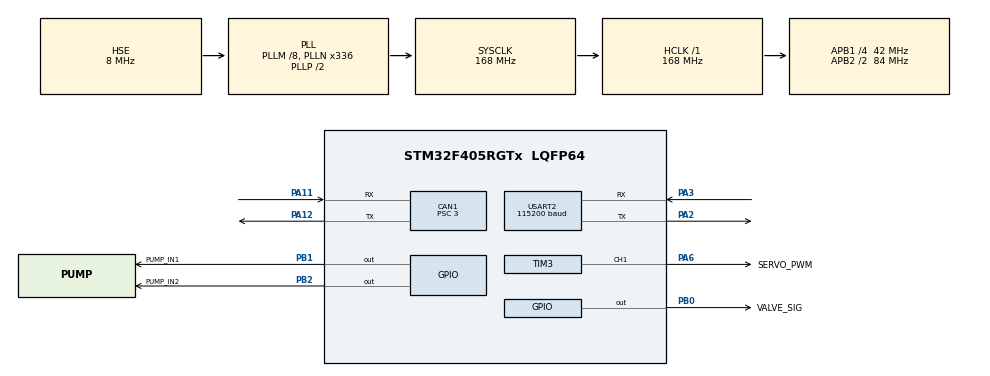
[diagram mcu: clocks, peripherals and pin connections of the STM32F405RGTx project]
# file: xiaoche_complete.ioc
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CAN1.ABOM=ENABLE
CAN1.BS1=CAN_BS1_11TQ
CAN1.BS2=CAN_BS2_2TQ
CAN1.CalculateBaudRate=1000000
CAN1.CalculateTimeBit=1000
CAN1.CalculateTimeQuantum=71.42857142857143
CAN1.NART=ENABLE
CAN1.Prescaler=3
Mcu.Family=STM32F4
Mcu.Name=STM32F405RGTx
Mcu.Package=LQFP64
NVIC.CAN1_RX0_IRQn=true\:0\:0\:false\:false\:true\:true\:true\:true
NVIC.PriorityGroup=NVIC_PRIORITYGROUP_4
NVIC.USART2_IRQn=true\:1\:0\:true\:false\:true\:true\:true\:true
PA11.Mode=CAN_Activate
PA11.Signal=CAN1_RX
PA12.Mode=CAN_Activate
PA12.Signal=CAN1_TX
PA13.Mode=Serial_Wire
PA13.Signal=SYS_JTMS-SWDIO
PA14.Mode=Serial_Wire
PA14.Signal=SYS_JTCK-SWCLK
PA2.Mode=Asynchronous
PA2.Signal=USART2_TX
PA3.Mode=Asynchronous
PA3.Signal=USART2_RX
PA6.GPIO_Label=SERVO_PWM
PA6.Signal=S_TIM3_CH1
PB0.GPIO_Label=VALVE_SIG
PB0.GPIO_PuPd=GPIO_PULLDOWN
PB0.Signal=GPIO_Output
PB1.GPIO_Label=PUMP_IN1
PB1.GPIO_PuPd=GPIO_PULLDOWN
PB1.Signal=GPIO_Output
PB2.GPIO_Label=PUMP_IN2
PB2.GPIO_PuPd=GPIO_PULLDOWN
PB2.Signal=GPIO_Output
PH0-OSC_IN.Mode=HSE-External-Oscillator
PH0-OSC_IN.Signal=RCC_OSC_IN
PH1-OSC_OUT.Mode=HSE-External-Oscillator
PH1-OSC_OUT.Signal=RCC_OSC_OUT
ProjectManager.HeapSize=0x200
ProjectManager.StackSize=0x400
ProjectManager.TargetToolchain=MDK-ARM V5.32
RCC.48MHZClocksFreq_Value=48000000
RCC.AHBFreq_Value=168000000
RCC.APB1CLKDivider=RCC_HCLK_DIV4
RCC.APB1Freq_Value=42000000
RCC.APB1TimFreq_Value=84000000
RCC.APB2CLKDivider=RCC_HCLK_DIV2
RCC.APB2Freq_Value=84000000
RCC.APB2TimFreq_Value=168000000
RCC.CortexFreq_Value=168000000
RCC.HCLKFreq_Value=168000000
RCC.HSE_VALUE=8000000
RCC.HSI_VALUE=16000000
RCC.LSE_VALUE=32768
RCC.PLLM=8
RCC.PLLN=336
RCC.PLLQ=7
RCC.PLLSourceVirtual=RCC_PLLSOURCE_HSE
RCC.SYSCLKFreq_VALUE=168000000
RCC.SYSCLKSource=RCC_SYSCLKSOURCE_PLLCLK
RCC.VCOOutputFreq_Value=336000000
SH.S_TIM3_CH1.0=TIM3_CH1,PWM Generation1 CH1
TIM3.Channel-PWM\ Generation1\ CH1=TIM_CHANNEL_1
TIM3.Period=19999
TIM3.Prescaler=83
USART2.BaudRate=115200
USART2.VirtualMode=VM_ASYNC
board=custom

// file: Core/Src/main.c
/* USER CODE BEGIN Header */
/**
  ******************************************************************************
  * @file           : main.c
  * @brief          : Complete three-omni-wheel robot controller
  *
  * Hardware:
  *   - STM32F405RGT6, 8 MHz HSE, 168 MHz SYSCLK
  *   - HC-05 on USART2, 115200 8N1, BTMCU 8-byte ValuePack
  *   - C620 + M3508 x3, ESC IDs 1/2/3
  *   - C610 + M2006 x3, ESC IDs 4/5/6
  *     (claw/lift/suction-lift position control)
  *   - SG90 on PA6 / TIM3_CH1
  *   - Solenoid-valve MOS module signal on PB0
  *   - Vacuum-pump L298N IN1/IN2 on PB1/PB2
  *   - Suction lift uses C610 ID6 + M2006 with encoder position holding
  ******************************************************************************
  */
/* USER CODE END Header */

#include "main.h"
#include "can.h"
#include "gpio.h"
#include "tim.h"
#include "usart.h"

/* USER CODE BEGIN Includes */
#include <stdint.h>
/* USER CODE END Includes */

/* USER CODE BEGIN PTD */
typedef struct
{
  volatile uint16_t angle;
  volatile uint16_t last_angle;
  volatile int32_t total_angle;
  volatile int16_t speed;
  volatile int16_t current;
  volatile uint8_t temperature;
  volatile uint8_t angle_initialized;
  volatile uint32_t last_rx_tick;
} MotorFeedback_t;

typedef struct
{
  float kp;
  float ki;
  float kd;
  float error;
  float last_error;
  float integral;
  float integral_max;
  float output;
  float output_max;
} PID_t;

typedef enum
{
  AUTO_IDLE = 0,
  AUTO_FENCE_DOWN,
  AUTO_WAIT_PUMP,
  AUTO_HOLD_OBJECT,
  AUTO_WAIT_RETRACT,
  AUTO_FENCE_UP
} AutoState_t;

/* USER CODE END PTD */

/* USER CODE BEGIN PD */
/* Control periods and Bluetooth fail-safe. BTMCU sends one frame every 50 ms. */
#define CAN_CONTROL_PERIOD_MS       10U
#define SERVO_CONTROL_PERIOD_MS     20U
#define BT_LOSS_TIMEOUT_MS          300U
#define MOTOR_FEEDBACK_TIMEOUT_MS   100U

/*
 * BTMCU ValuePack selected in the supplied .pro file:
 * A5 | bool[0..15] | BYTE0 | BYTE1 | BYTE2 | checksum(data bytes) | 5A
 */
#define BT_PACKET_HEAD              0xA5U
#define BT_PACKET_TAIL              0x5AU
#define BT_PACKET_DATA_SIZE         5U
#define BT_PACKET_SIZE              8U
#define BT_AXIS_DEADZONE            5
#define BT_AXIS_FULL_SCALE          100.0f

/* bool12/13 control the C610 ID6 + M2006 suction lift. */
#define BT_KEY_CLAW_CLOSE           (1U << 0)
#define BT_KEY_CLAW_OPEN            (1U << 1)
#define BT_KEY_LIFT_UP              (1U << 2)
#define BT_KEY_LIFT_DOWN            (1U << 3)
#define BT_KEY_PUMP_ON              (1U << 4)
#define BT_KEY_PUMP_OFF             (1U << 5)
#define BT_KEY_CYLINDER             (1U << 6)
#define BT_KEY_FENCE_DOWN           (1U << 7)
#define BT_KEY_FENCE_UP             (1U << 8)

#define BT_KEY_AUTO_CAPTURE         (1U << 9)
#define BT_KEY_AUTO_RELEASE         (1U << 10)
#define BT_KEY_EMERGENCY_STOP       (1U << 11)
#define BT_KEY_SUCTION_LIFT_UP       (1U << 12)
#define BT_KEY_SUCTION_LIFT_DOWN     (1U << 13)
#define BT_MANUAL_OUTPUT_KEYS       (BT_KEY_PUMP_ON | BT_KEY_PUMP_OFF | \
                                     BT_KEY_CYLINDER | BT_KEY_FENCE_DOWN | \
                                     BT_KEY_FENCE_UP)

/* Chassis: keep the three independently adjustable gains from dipanxin. */
#define MOTOR1_KP                  3.0f
#define MOTOR1_KI                  0.2f
#define MOTOR1_KD                  0.0f
#define MOTOR2_KP                  3.0f
#define MOTOR2_KI                  0.2f
#define MOTOR2_KD                  0.0f
#define MOTOR3_KP                  3.0f
#define MOTOR3_KI                  0.25f
#define MOTOR3_KD                  0.0f
#define CHASSIS_MAX_RPM             2000.0f
#define C620_CURRENT_LIMIT          15000.0f
#define PID_INTEGRAL_LIMIT          2000.0f
#define CHASSIS_STOP_RPM_THRESHOLD  20
#define CHASSIS_BRAKE_CURRENT_LIMIT 5000.0f
#define SQRT3_OVER_2                0.8660254f

/* Change one sign to -1.0f if that input axis or installed wheel is reversed. */
#define CHASSIS_VX_SIGN             1.0f
#define CHASSIS_VY_SIGN             1.0f
#define CHASSIS_VW_SIGN             1.0f
#define MOTOR1_DIRECTION            1.0f
#define MOTOR2_DIRECTION            1.0f
#define MOTOR3_DIRECTION            1.0f

/*
 * M2006 position control. C610 reports the rotor encoder as 0..8191 and the
 * M2006 P36 gearbox ratio is 36:1. All mechanism angles below are output-shaft
 * degrees relative to the position seen immediately after power-up.
 */
#define M2006_ENCODER_COUNTS_PER_REV  8192.0f
#define M2006_GEAR_RATIO              36.0f
#define M2006_COUNTS_PER_OUTPUT_DEG   \
        (M2006_ENCODER_COUNTS_PER_REV * M2006_GEAR_RATIO / 360.0f)
#define CLAW_FEEDBACK_INDEX           3U
#define LIFT_FEEDBACK_INDEX           4U
#define SUCTION_LIFT_FEEDBACK_INDEX   5U

/* Claw: bool0 selects this closed angle; bool1 returns to the power-up zero. */
#define CLAW_CLOSE_OUTPUT_DEG          55.0f
#define CLAW_POSITION_KP               0.040f
#define CLAW_SPEED_KD                  0.35f
#define CLAW_CURRENT_LIMIT             3000.0f
#define CLAW_HOLD_BIAS_CURRENT         2000.0f

/*
 * Lift: bool2/bool3 ramp the target while held, then the target is retained.
 * Default travel is one output-shaft revolution; set this to the real travel.
 */
#define LIFT_MIN_OUTPUT_DEG             0.0f
#define LIFT_MAX_OUTPUT_DEG             800.0f
#define LIFT_TARGET_SPEED_DEG_PER_SEC   300.0f  //速度
#define LIFT_POSITION_KP                0.045f
#define LIFT_SPEED_KD                   0.35f
#define LIFT_CURRENT_LIMIT              5000.0f
#define LIFT_GRAVITY_HOLD_CURRENT       1000.0f

/*
 * Suction lift on C610 ID6 + M2006: bool12/bool13 change the target while
 * held. Releasing both buttons retains the target and position current.
 */
#define SUCTION_LIFT_MIN_OUTPUT_DEG             0.0f
#define SUCTION_LIFT_MAX_OUTPUT_DEG             800.0f
#define SUCTION_LIFT_TARGET_SPEED_DEG_PER_SEC   300.0f
#define SUCTION_LIFT_POSITION_KP                0.045f
#define SUCTION_LIFT_SPEED_KD                   0.35f
#define SUCTION_LIFT_CURRENT_LIMIT              5000.0f
#define SUCTION_LIFT_GRAVITY_HOLD_CURRENT       1000.0f

/* Change a sign to -1 if the installed mechanism moves backwards. */
#define CLAW_CLOSE_SIGN                 1
#define LIFT_UP_SIGN                    1
#define SUCTION_LIFT_UP_SIGN             1

/* SG90 settings: TIM3 runs at 1 MHz, so compare value equals pulse width us. */
#define SERVO_MIN_US               600U
#define SERVO_CENTER_US            1500U
#define SERVO_MAX_US               2400U
#define SERVO_STEP_US              10U

/* Test without the mechanical linkage first; swap these two if reversed. */
#define FENCE_UP_US                SERVO_MIN_US
#define FENCE_DOWN_US              SERVO_MAX_US

/* Automatic suction sequence timing. */
#define PUMP_LEAD_TIME_MS          300U
#define CYLINDER_RETRACT_TIME_MS   800U
/* USER CODE END PD */

/* USER CODE BEGIN PV */
/* Feedback indices 0..5 correspond to ESC IDs 1..6. */
MotorFeedback_t motor_feedback[6];
PID_t chassis_pid[3];
volatile uint32_t can_receive_count = 0U;

/* BTMCU receive state. Packet layout is documented above. */
static uint8_t uart_rx_byte = 0U;
static volatile int8_t bt_vx = 0;
static volatile int8_t bt_vy = 0;
static volatile int8_t bt_vw = 0;
static volatile uint16_t bt_key_bits = 0U;
static volatile uint32_t last_bt_packet_tick = 0U;
static volatile uint32_t bt_packet_sequence = 0U;
static volatile uint32_t bt_valid_packet_count = 0U;
static volatile uint32_t bt_error_packet_count = 0U;
static volatile uint8_t bt_link_valid = 0U;
static uint8_t bt_rx_index = 0U;
static uint8_t bt_rx_packet[BT_PACKET_SIZE];
static uint16_t last_applied_keys = 0U;

/* Mechanism state. Claw buttons select positions; lift buttons ramp a target. */
static volatile int8_t lift_command = 0;
static volatile int8_t suction_lift_command = 0;
static volatile int8_t servo_manual_direction = 0;
static volatile uint8_t mechanism_outputs_enabled = 1U;
static uint8_t claw_closed_requested = 0U;
static uint8_t claw_position_ready = 0U;
static uint8_t lift_position_ready = 0U;
static uint8_t suction_lift_position_ready = 0U;
static int32_t claw_zero_counts = 0;
static int32_t claw_target_counts = 0;
static int32_t lift_zero_counts = 0;
static int32_t lift_target_counts = 0;
static float lift_target_output_deg = 0.0f;
static int32_t suction_lift_zero_counts = 0;
static int32_t suction_lift_target_counts = 0;
static float suction_lift_target_output_deg = 0.0f;

static uint16_t servo_pulse_us = SERVO_CENTER_US;
static volatile AutoState_t auto_state = AUTO_IDLE;
static volatile uint32_t auto_state_tick = 0U;
/* USER CODE END PV */

void SystemClock_Config(void);
/* USER CODE BEGIN PFP */
static void CAN1_Start(void);
static void PID_InitAll(void);
static void PID_Reset(PID_t *pid);
static float PID_Calculate(PID_t *pid, float target, float feedback);
static int16_t Chassis_BrakeCurrent(PID_t *pid,
                                    uint8_t feedback_index,
                                    uint32_t now);
static void Omni_Mix(float vx, float vy, float w,
                     float speed_limit,
                     float *motor1, float *motor2, float *motor3);
static float ClampFloat(float value, float minimum, float maximum);
static int32_t OutputDegreesToCounts(float degrees);
static int16_t Position_Current(int32_t target_counts,
                                int32_t actual_counts,
                                int16_t rotor_speed,
                                float kp, float kd,
                                float feedforward,
                                float current_limit);
static void Mechanism_Task(uint32_t now,
                           int16_t *claw_current,
                           int16_t *lift_current,
                           int16_t *suction_lift_current);
static int8_t Bluetooth_FilterAxis(int8_t value);
static uint8_t Bluetooth_ValidatePacket(const uint8_t *packet);
static void Bluetooth_DecodePacket(const uint8_t *packet);
static void Bluetooth_ApplyPacket(uint16_t keys, uint32_t now);
static void DJI_SendCurrent_0x200(int16_t id1, int16_t id2,
                                 int16_t id3, int16_t id4);
static void DJI_SendCurrent_0x1FF(int16_t id5, int16_t id6,
                                 int16_t id7, int16_t id8);
static void Pump_On(void);
static void Pump_Off(void);
static void Valve_On(void);
static void Valve_Off(void);
static void Communication_Failsafe(void);
static void Emergency_Stop(void);
static void Servo_Task(void);
static uint8_t Servo_MoveToward(uint16_t target_us);
static void Automatic_Task(uint32_t now);
/* USER CODE END PFP */

/* USER CODE BEGIN 0 */
static float ClampFloat(float value, float minimum, float maximum)
{
  if (value > maximum)
  {
    return maximum;
  }
  if (value < minimum)
  {
    return minimum;
  }
  return value;
}

static int32_t OutputDegreesToCounts(float degrees)
{
  float counts = degrees * M2006_COUNTS_PER_OUTPUT_DEG;

  if (counts >= 0.0f)
  {
    return (int32_t)(counts + 0.5f);
  }
  return (int32_t)(counts - 0.5f);
}

static int16_t Position_Current(int32_t target_counts,
                                int32_t actual_counts,
                                int16_t rotor_speed,
                                float kp, float kd,
                                float feedforward,
                                float current_limit)
{
  float position_error = (float)(target_counts - actual_counts);
  float output = kp * position_error
               - kd * (float)rotor_speed
               + feedforward;

  output = ClampFloat(output, -current_limit, current_limit);
  if (output >= 0.0f)
  {
    return (int16_t)(output + 0.5f);
  }
  return (int16_t)(output - 0.5f);
}

static void Mechanism_Task(uint32_t now,
                           int16_t *claw_current,
                           int16_t *lift_current,
                           int16_t *suction_lift_current)
{
  int32_t claw_position;
  int32_t lift_position;
  int32_t suction_lift_position;
  int16_t claw_speed;
  int16_t lift_speed;
  int16_t suction_lift_speed;
  uint32_t claw_feedback_tick;
  uint32_t lift_feedback_tick;
  uint32_t suction_lift_feedback_tick;
  uint8_t claw_encoder_ready;
  uint8_t lift_encoder_ready;
  uint8_t suction_lift_encoder_ready;
  uint8_t outputs_enabled;
  int8_t local_lift_command;
  int8_t local_suction_lift_command;
  uint8_t claw_feedback_fresh;
  uint8_t lift_feedback_fresh;
  uint8_t suction_lift_feedback_fresh;
  float claw_feedforward;
  float lift_feedforward;
  float suction_lift_feedforward;

  __disable_irq();
  claw_position = motor_feedback[CLAW_FEEDBACK_INDEX].total_angle;
  lift_position = motor_feedback[LIFT_FEEDBACK_INDEX].total_angle;
  suction_lift_position =
      motor_feedback[SUCTION_LIFT_FEEDBACK_INDEX].total_angle;
  claw_speed = motor_feedback[CLAW_FEEDBACK_INDEX].speed;
  lift_speed = motor_feedback[LIFT_FEEDBACK_INDEX].speed;
  suction_lift_speed = motor_feedback[SUCTION_LIFT_FEEDBACK_INDEX].speed;
  claw_feedback_tick = motor_feedback[CLAW_FEEDBACK_INDEX].last_rx_tick;
  lift_feedback_tick = motor_feedback[LIFT_FEEDBACK_INDEX].last_rx_tick;
  suction_lift_feedback_tick =
      motor_feedback[SUCTION_LIFT_FEEDBACK_INDEX].last_rx_tick;
  claw_encoder_ready =
      motor_feedback[CLAW_FEEDBACK_INDEX].angle_initialized;
  lift_encoder_ready =
      motor_feedback[LIFT_FEEDBACK_INDEX].angle_initialized;
  suction_lift_encoder_ready =
      motor_feedback[SUCTION_LIFT_FEEDBACK_INDEX].angle_initialized;
  outputs_enabled = mechanism_outputs_enabled;
  local_lift_command = lift_command;
  local_suction_lift_command = suction_lift_command;
  __enable_irq();

  claw_feedback_fresh =
      ((claw_feedback_tick != 0U) &&
       ((now - claw_feedback_tick) <= MOTOR_FEEDBACK_TIMEOUT_MS)) ? 1U : 0U;
  lift_feedback_fresh =
      ((lift_feedback_tick != 0U) &&
       ((now - lift_feedback_tick) <= MOTOR_FEEDBACK_TIMEOUT_MS)) ? 1U : 0U;
  suction_lift_feedback_fresh =
      ((suction_lift_feedback_tick != 0U) &&
       ((now - suction_lift_feedback_tick) <=
        MOTOR_FEEDBACK_TIMEOUT_MS)) ? 1U : 0U;

  /* The first valid encoder position after power-up is the relative zero. */
  if ((claw_position_ready == 0U) &&
      (claw_encoder_ready != 0U) &&
      (outputs_enabled != 0U))
  {
    claw_zero_counts = claw_position;
    claw_target_counts = claw_zero_counts;
    if (claw_closed_requested != 0U)
    {
      claw_target_counts +=
          CLAW_CLOSE_SIGN * OutputDegreesToCounts(CLAW_CLOSE_OUTPUT_DEG);
    }
    claw_position_ready = 1U;
  }

  if ((lift_position_ready == 0U) &&
      (lift_encoder_ready != 0U) &&
      (outputs_enabled != 0U))
  {
    lift_zero_counts = lift_position;
    lift_target_output_deg = LIFT_MIN_OUTPUT_DEG;
    lift_target_counts = lift_zero_counts +
        LIFT_UP_SIGN * OutputDegreesToCounts(lift_target_output_deg);
    lift_position_ready = 1U;
  }

  if ((suction_lift_position_ready == 0U) &&
      (suction_lift_encoder_ready != 0U) &&
      (outputs_enabled != 0U))
  {
    suction_lift_zero_counts = suction_lift_position;
    suction_lift_target_output_deg = SUCTION_LIFT_MIN_OUTPUT_DEG;
    suction_lift_target_counts = suction_lift_zero_counts +
        SUCTION_LIFT_UP_SIGN *
        OutputDegreesToCounts(suction_lift_target_output_deg);
    suction_lift_position_ready = 1U;
  }

  /* Pressing lift up/down changes the target; release freezes that target. */
  if ((lift_position_ready != 0U) &&
      (lift_feedback_fresh != 0U) &&
      (outputs_enabled != 0U))
  {
    lift_target_output_deg +=
        (float)local_lift_command * LIFT_TARGET_SPEED_DEG_PER_SEC *
        ((float)CAN_CONTROL_PERIOD_MS / 1000.0f);
    lift_target_output_deg = ClampFloat(lift_target_output_deg,
                                        LIFT_MIN_OUTPUT_DEG,
                                        LIFT_MAX_OUTPUT_DEG);
    lift_target_counts = lift_zero_counts +
        LIFT_UP_SIGN * OutputDegreesToCounts(lift_target_output_deg);
  }

  /* The ID6 suction lift uses the same hold-to-move position strategy. */
  if ((suction_lift_position_ready != 0U) &&
      (suction_lift_feedback_fresh != 0U) &&
      (outputs_enabled != 0U))
  {
    suction_lift_target_output_deg +=
        (float)local_suction_lift_command *
        SUCTION_LIFT_TARGET_SPEED_DEG_PER_SEC *
        ((float)CAN_CONTROL_PERIOD_MS / 1000.0f);
    suction_lift_target_output_deg =
        ClampFloat(suction_lift_target_output_deg,
                   SUCTION_LIFT_MIN_OUTPUT_DEG,
                   SUCTION_LIFT_MAX_OUTPUT_DEG);
    suction_lift_target_counts = suction_lift_zero_counts +
        SUCTION_LIFT_UP_SIGN *
        OutputDegreesToCounts(suction_lift_target_output_deg);
  }

  *claw_current = 0;
  *lift_current = 0;
  *suction_lift_current = 0;

  if ((outputs_enabled != 0U) &&
      (claw_position_ready != 0U) &&
      (claw_feedback_fresh != 0U))
  {
    claw_feedforward = 0.0f;
    if (claw_closed_requested != 0U)
    {
      claw_feedforward =
          (float)CLAW_CLOSE_SIGN * CLAW_HOLD_BIAS_CURRENT;
    }
    *claw_current = Position_Current(claw_target_counts,
                                     claw_position,
                                     claw_speed,
                                     CLAW_POSITION_KP,
                                     CLAW_SPEED_KD,
                                     claw_feedforward,
                                     CLAW_CURRENT_LIMIT);
  }

  if ((outputs_enabled != 0U) &&
      (lift_position_ready != 0U) &&
      (lift_feedback_fresh != 0U))
  {
    lift_feedforward = 0.0f;
    if (lift_target_output_deg > (LIFT_MIN_OUTPUT_DEG + 0.5f))
    {
      lift_feedforward =
          (float)LIFT_UP_SIGN * LIFT_GRAVITY_HOLD_CURRENT;
    }
    *lift_current = Position_Current(lift_target_counts,
                                     lift_position,
                                     lift_speed,
                                     LIFT_POSITION_KP,
                                     LIFT_SPEED_KD,
                                     lift_feedforward,
                                     LIFT_CURRENT_LIMIT);
  }

  if ((outputs_enabled != 0U) &&
      (suction_lift_position_ready != 0U) &&
      (suction_lift_feedback_fresh != 0U))
  {
    suction_lift_feedforward = 0.0f;
    if (suction_lift_target_output_deg >
        (SUCTION_LIFT_MIN_OUTPUT_DEG + 0.5f))
    {
      suction_lift_feedforward =
          (float)SUCTION_LIFT_UP_SIGN *
          SUCTION_LIFT_GRAVITY_HOLD_CURRENT;
    }
    *suction_lift_current =
        Position_Current(suction_lift_target_counts,
                         suction_lift_position,
                         suction_lift_speed,
                         SUCTION_LIFT_POSITION_KP,
                         SUCTION_LIFT_SPEED_KD,
                         suction_lift_feedforward,
                         SUCTION_LIFT_CURRENT_LIMIT);
  }
}

static int8_t Bluetooth_FilterAxis(int8_t value)
{
  if ((value >= -BT_AXIS_DEADZONE) && (value <= BT_AXIS_DEADZONE))
  {
    return 0;
  }
  if (value > 100)
  {
    return 100;
  }
  if (value < -100)
  {
    return -100;
  }
  return value;
}

static uint8_t Bluetooth_ValidatePacket(const uint8_t *packet)
{
  uint8_t checksum = 0U;
  uint8_t i;

  if ((packet[0] != BT_PACKET_HEAD) ||
      (packet[BT_PACKET_SIZE - 1U] != BT_PACKET_TAIL))
  {
    return 0U;
  }

  for (i = 1U; i <= BT_PACKET_DATA_SIZE; i++)
  {
    checksum = (uint8_t)(checksum + packet[i]);
  }
  return (checksum == packet[BT_PACKET_SIZE - 2U]) ? 1U : 0U;
}

static void Bluetooth_DecodePacket(const uint8_t *packet)
{
  bt_key_bits = (uint16_t)(((uint16_t)packet[2] << 8) | packet[1]);
  bt_vx = Bluetooth_FilterAxis((int8_t)packet[3]);
  bt_vy = Bluetooth_FilterAxis((int8_t)packet[4]);
  bt_vw = Bluetooth_FilterAxis((int8_t)packet[5]);
  last_bt_packet_tick = HAL_GetTick();
  bt_link_valid = 1U;
  bt_packet_sequence++;
  bt_valid_packet_count++;
}

static void CAN1_Start(void)
{
  CAN_FilterTypeDef filter = {0};

  filter.FilterBank = 0U;
  filter.FilterMode = CAN_FILTERMODE_IDMASK;
  filter.FilterScale = CAN_FILTERSCALE_32BIT;
  filter.FilterIdHigh = 0x0000U;
  filter.FilterIdLow = 0x0000U;
  filter.FilterMaskIdHigh = 0x0000U;
  filter.FilterMaskIdLow = 0x0000U;
  filter.FilterFIFOAssignment = CAN_RX_FIFO0;
  filter.FilterActivation = ENABLE;
  filter.SlaveStartFilterBank = 14U;

  if (HAL_CAN_ConfigFilter(&hcan1, &filter) != HAL_OK)
  {
    Error_Handler();
  }
  if (HAL_CAN_Start(&hcan1) != HAL_OK)
  {
    Error_Handler();
  }
  if (HAL_CAN_ActivateNotification(&hcan1,
                                   CAN_IT_RX_FIFO0_MSG_PENDING) != HAL_OK)
  {
    Error_Handler();
  }
}

static void DJI_PackCurrent(uint8_t *data, uint8_t index, int16_t current)
{
  uint16_t raw = (uint16_t)current;
  data[index] = (uint8_t)((raw >> 8) & 0xFFU);
  data[index + 1U] = (uint8_t)(raw & 0xFFU);
}

static void DJI_SendCurrent_0x200(int16_t id1, int16_t id2,
                                 int16_t id3, int16_t id4)
{
  CAN_TxHeaderTypeDef header = {0};
  uint8_t data[8] = {0};
  uint32_t mailbox = 0U;

  header.StdId = 0x200U;
  header.IDE = CAN_ID_STD;
  header.RTR = CAN_RTR_DATA;
  header.DLC = 8U;
  header.TransmitGlobalTime = DISABLE;

  DJI_PackCurrent(data, 0U, id1);
  DJI_PackCurrent(data, 2U, id2);
  DJI_PackCurrent(data, 4U, id3);
  DJI_PackCurrent(data, 6U, id4);

  (void)HAL_CAN_AddTxMessage(&hcan1, &header, data, &mailbox);
}

static void DJI_SendCurrent_0x1FF(int16_t id5, int16_t id6,
                                 int16_t id7, int16_t id8)
{
  CAN_TxHeaderTypeDef header = {0};
  uint8_t data[8] = {0};
  uint32_t mailbox = 0U;

  header.StdId = 0x1FFU;
  header.IDE = CAN_ID_STD;
  header.RTR = CAN_RTR_DATA;
  header.DLC = 8U;
  header.TransmitGlobalTime = DISABLE;

  DJI_PackCurrent(data, 0U, id5);
  DJI_PackCurrent(data, 2U, id6);
  DJI_PackCurrent(data, 4U, id7);
  DJI_PackCurrent(data, 6U, id8);

  (void)HAL_CAN_AddTxMessage(&hcan1, &header, data, &mailbox);
}

static void PID_InitAll(void)
{
  uint8_t i;

  chassis_pid[0].kp = MOTOR1_KP;
  chassis_pid[0].ki = MOTOR1_KI;
  chassis_pid[0].kd = MOTOR1_KD;
  chassis_pid[1].kp = MOTOR2_KP;
  chassis_pid[1].ki = MOTOR2_KI;
  chassis_pid[1].kd = MOTOR2_KD;
  chassis_pid[2].kp = MOTOR3_KP;
  chassis_pid[2].ki = MOTOR3_KI;
  chassis_pid[2].kd = MOTOR3_KD;

  for (i = 0U; i < 3U; i++)
  {
    chassis_pid[i].error = 0.0f;
    chassis_pid[i].last_error = 0.0f;
    chassis_pid[i].integral = 0.0f;
    chassis_pid[i].integral_max = PID_INTEGRAL_LIMIT;
    chassis_pid[i].output = 0.0f;
    chassis_pid[i].output_max = C620_CURRENT_LIMIT;
  }
}

static void PID_Reset(PID_t *pid)
{
  pid->error = 0.0f;
  pid->last_error = 0.0f;
  pid->integral = 0.0f;
  pid->output = 0.0f;
}

static float PID_Calculate(PID_t *pid, float target, float feedback)
{
  pid->error = target - feedback;
  pid->integral += pid->error;
  pid->integral = ClampFloat(pid->integral,
                             -pid->integral_max,
                             pid->integral_max);

  pid->output = pid->kp * pid->error
              + pid->ki * pid->integral
              + pid->kd * (pid->error - pid->last_error);
  pid->last_error = pid->error;
  pid->output = ClampFloat(pid->output,
                           -pid->output_max,
                           pid->output_max);
  return pid->output;
}

/*
 * A zero current command only lets a wheel coast.  When the joystick returns
 * to its centre, command zero speed instead so every chassis motor actively
 * brakes.  The small speed threshold prevents hunting after the wheel stops,
 * and the separate current limit keeps the stop from being excessively hard.
 */
static int16_t Chassis_BrakeCurrent(PID_t *pid,
                                    uint8_t feedback_index,
                                    uint32_t now)
{
  int16_t speed;
  float brake_current;

  if ((motor_feedback[feedback_index].last_rx_tick == 0U) ||
      ((now - motor_feedback[feedback_index].last_rx_tick) >
       MOTOR_FEEDBACK_TIMEOUT_MS))
  {
    PID_Reset(pid);
    return 0;
  }

  speed = motor_feedback[feedback_index].speed;
  if ((speed >= -CHASSIS_STOP_RPM_THRESHOLD) &&
      (speed <= CHASSIS_STOP_RPM_THRESHOLD))
  {
    PID_Reset(pid);
    return 0;
  }

  brake_current = PID_Calculate(pid, 0.0f, (float)speed);
  brake_current = ClampFloat(brake_current,
                             -CHASSIS_BRAKE_CURRENT_LIMIT,
                             CHASSIS_BRAKE_CURRENT_LIMIT);
  return (int16_t)brake_current;
}

/* Three wheels are installed at 90, 210 and 330 degrees. */
static void Omni_Mix(float vx, float vy, float w,
                     float speed_limit,
                     float *motor1, float *motor2, float *motor3)
{
  *motor1 = MOTOR1_DIRECTION * (-vx + w);
  *motor2 = MOTOR2_DIRECTION *
            (0.5f * vx - SQRT3_OVER_2 * vy + w);
  *motor3 = MOTOR3_DIRECTION *
            (0.5f * vx + SQRT3_OVER_2 * vy + w);

  *motor1 = ClampFloat(*motor1, -speed_limit, speed_limit);
  *motor2 = ClampFloat(*motor2, -speed_limit, speed_limit);
  *motor3 = ClampFloat(*motor3, -speed_limit, speed_limit);
}

static void Pump_On(void)
{
  HAL_GPIO_WritePin(PUMP_IN2_GPIO_Port, PUMP_IN2_Pin, GPIO_PIN_RESET);
  HAL_GPIO_WritePin(PUMP_IN1_GPIO_Port, PUMP_IN1_Pin, GPIO_PIN_SET);
}

static void Pump_Off(void)
{
  HAL_GPIO_WritePin(PUMP_IN1_GPIO_Port, PUMP_IN1_Pin, GPIO_PIN_RESET);
  HAL_GPIO_WritePin(PUMP_IN2_GPIO_Port, PUMP_IN2_Pin, GPIO_PIN_RESET);
}

static void Valve_On(void)
{
  HAL_GPIO_WritePin(VALVE_SIG_GPIO_Port, VALVE_SIG_Pin, GPIO_PIN_SET);
}

static void Valve_Off(void)
{
  HAL_GPIO_WritePin(VALVE_SIG_GPIO_Port, VALVE_SIG_Pin, GPIO_PIN_RESET);
}

static void Communication_Failsafe(void)
{
  bt_vx = 0;
  bt_vy = 0;
  bt_vw = 0;
  lift_command = 0;
  suction_lift_command = 0;
  servo_manual_direction = 0;
  auto_state = AUTO_IDLE;
  Pump_Off();
  Valve_Off();
}

static void Emergency_Stop(void)
{
  Communication_Failsafe();
  mechanism_outputs_enabled = 0U;
  claw_closed_requested = 0U;
  claw_position_ready = 0U;
  lift_position_ready = 0U;
  suction_lift_position_ready = 0U;
}

static void Bluetooth_ApplyPacket(uint16_t keys, uint32_t now)
{
  uint16_t rising_keys = (uint16_t)(keys & (uint16_t)(~last_applied_keys));

  /* Emergency has the highest priority. It remains active while the bit is 1. */
  if ((keys & BT_KEY_EMERGENCY_STOP) != 0U)
  {
    Emergency_Stop();
    last_applied_keys = keys;
    return;
  }

  mechanism_outputs_enabled = 1U;

  /* Claw commands are edge-triggered position selections, not hold-to-run. */
  if (((rising_keys & BT_KEY_CLAW_CLOSE) != 0U) &&
      ((keys & BT_KEY_CLAW_OPEN) == 0U))
  {
    claw_closed_requested = 1U;
    if (claw_position_ready != 0U)
    {
      claw_target_counts = claw_zero_counts +
          CLAW_CLOSE_SIGN * OutputDegreesToCounts(CLAW_CLOSE_OUTPUT_DEG);
    }
  }
  else if (((rising_keys & BT_KEY_CLAW_OPEN) != 0U) &&
           ((keys & BT_KEY_CLAW_CLOSE) == 0U))
  {
    claw_closed_requested = 0U;
    if (claw_position_ready != 0U)
    {
      claw_target_counts = claw_zero_counts;
    }
  }

  /* Lift remains hold-to-move; releasing both buttons holds the new target. */
  if (((keys & BT_KEY_LIFT_UP) != 0U) &&
      ((keys & BT_KEY_LIFT_DOWN) == 0U))
  {
    lift_command = 1;
  }
  else if (((keys & BT_KEY_LIFT_DOWN) != 0U) &&
           ((keys & BT_KEY_LIFT_UP) == 0U))
  {
    lift_command = -1;
  }
  else
  {
    lift_command = 0;
  }

  /* ID6 suction lift: release freezes the target and keeps position holding. */
  if (((keys & BT_KEY_SUCTION_LIFT_UP) != 0U) &&
      ((keys & BT_KEY_SUCTION_LIFT_DOWN) == 0U))
  {
    suction_lift_command = 1;
  }
  else if (((keys & BT_KEY_SUCTION_LIFT_DOWN) != 0U) &&
           ((keys & BT_KEY_SUCTION_LIFT_UP) == 0U))
  {
    suction_lift_command = -1;
  }
  else
  {
    suction_lift_command = 0;
  }

  /* Optional automatic buttons are edge-triggered. */
  if ((rising_keys & BT_KEY_AUTO_CAPTURE) != 0U)
  {
    servo_manual_direction = 0;
    Valve_Off();
    Pump_Off();
    auto_state = AUTO_FENCE_DOWN;
  }
  else if ((rising_keys & BT_KEY_AUTO_RELEASE) != 0U)
  {
    servo_manual_direction = 0;
    Valve_Off();
    auto_state_tick = now;
    auto_state = AUTO_WAIT_RETRACT;
  }
  else
  {
    /* Any manual pump/valve/servo action cancels an automatic sequence. */
    if ((keys & BT_MANUAL_OUTPUT_KEYS) != 0U)
    {
      auto_state = AUTO_IDLE;
    }

    if (auto_state == AUTO_IDLE)
    {
      /* OFF wins if ON and OFF are pressed together. */
      if ((keys & BT_KEY_PUMP_OFF) != 0U)
      {
        Pump_Off();
      }
      else if ((keys & BT_KEY_PUMP_ON) != 0U)
      {
        Pump_On();
      }

      if ((keys & BT_KEY_CYLINDER) != 0U)
      {
        Valve_On();
      }
      else
      {
        Valve_Off();
      }

      if (((keys & BT_KEY_FENCE_DOWN) != 0U) &&
          ((keys & BT_KEY_FENCE_UP) == 0U))
      {
        servo_manual_direction = 1;
      }
      else if (((keys & BT_KEY_FENCE_UP) != 0U) &&
               ((keys & BT_KEY_FENCE_DOWN) == 0U))
      {
        servo_manual_direction = -1;
      }
      else
      {
        servo_manual_direction = 0;
      }
    }
  }

  last_applied_keys = keys;
}

static uint8_t Servo_MoveToward(uint16_t target_us)
{
  if (servo_pulse_us < target_us)
  {
    if ((uint16_t)(target_us - servo_pulse_us) > SERVO_STEP_US)
    {
      servo_pulse_us = (uint16_t)(servo_pulse_us + SERVO_STEP_US);
    }
    else
    {
      servo_pulse_us = target_us;
    }
  }
  else if (servo_pulse_us > target_us)
  {
    if ((uint16_t)(servo_pulse_us - target_us) > SERVO_STEP_US)
    {
      servo_pulse_us = (uint16_t)(servo_pulse_us - SERVO_STEP_US);
    }
    else
    {
      servo_pulse_us = target_us;
    }
  }

  __HAL_TIM_SET_COMPARE(&htim3, TIM_CHANNEL_1, servo_pulse_us);
  return (servo_pulse_us == target_us) ? 1U : 0U;
}

static void Servo_Task(void)
{
  if (auto_state == AUTO_FENCE_DOWN)
  {
    if (Servo_MoveToward(FENCE_DOWN_US) != 0U)
    {
      Pump_On();
      auto_state_tick = HAL_GetTick();
      auto_state = AUTO_WAIT_PUMP;
    }
  }
  else if (auto_state == AUTO_FENCE_UP)
  {
    if (Servo_MoveToward(FENCE_UP_US) != 0U)
    {
      auto_state = AUTO_IDLE;
    }
  }
  else if (servo_manual_direction > 0)
  {
    (void)Servo_MoveToward(FENCE_DOWN_US);
  }
  else if (servo_manual_direction < 0)
  {
    (void)Servo_MoveToward(FENCE_UP_US);
  }
  else
  {
    __HAL_TIM_SET_COMPARE(&htim3, TIM_CHANNEL_1, servo_pulse_us);
  }
}

static void Automatic_Task(uint32_t now)
{
  if ((auto_state == AUTO_WAIT_PUMP) &&
      ((now - auto_state_tick) >= PUMP_LEAD_TIME_MS))
  {
    Valve_On();
    auto_state = AUTO_HOLD_OBJECT;
  }
  else if ((auto_state == AUTO_WAIT_RETRACT) &&
           ((now - auto_state_tick) >= CYLINDER_RETRACT_TIME_MS))
  {
    Pump_Off();
    auto_state = AUTO_FENCE_UP;
  }
}

void HAL_CAN_RxFifo0MsgPendingCallback(CAN_HandleTypeDef *hcan)
{
  CAN_RxHeaderTypeDef header;
  uint8_t data[8];
  uint8_t index;
  uint16_t new_angle;
  int32_t angle_delta;

  if (hcan->Instance != CAN1)
  {
    return;
  }
  if (HAL_CAN_GetRxMessage(hcan, CAN_RX_FIFO0, &header, data) != HAL_OK)
  {
    return;
  }

  can_receive_count++;

  if ((header.IDE == CAN_ID_STD) &&
      (header.StdId >= 0x201U) &&
      (header.StdId <= 0x206U) &&
      (header.DLC == 8U))
  {
    index = (uint8_t)(header.StdId - 0x201U);
    new_angle = (uint16_t)(((uint16_t)data[0] << 8) | data[1]);

    if (motor_feedback[index].angle_initialized == 0U)
    {
      motor_feedback[index].last_angle = new_angle;
      motor_feedback[index].total_angle = 0;
      motor_feedback[index].angle_initialized = 1U;
    }
    else
    {
      angle_delta = (int32_t)new_angle -
                    (int32_t)motor_feedback[index].last_angle;
      if (angle_delta > 4096)
      {
        angle_delta -= 8192;
      }
      else if (angle_delta < -4096)
      {
        angle_delta += 8192;
      }
      motor_feedback[index].total_angle += angle_delta;
      motor_feedback[index].last_angle = new_angle;
    }

    motor_feedback[index].angle = new_angle;
    motor_feedback[index].speed =
        (int16_t)(((uint16_t)data[2] << 8) | data[3]);
    motor_feedback[index].current =
        (int16_t)(((uint16_t)data[4] << 8) | data[5]);
    motor_feedback[index].temperature = data[6];
    motor_feedback[index].last_rx_tick = HAL_GetTick();
  }
}

void HAL_UART_RxCpltCallback(UART_HandleTypeDef *huart)
{
  if (huart->Instance == USART2)
  {
    if (bt_rx_index == 0U)
    {
      if (uart_rx_byte == BT_PACKET_HEAD)
      {
        bt_rx_packet[0] = uart_rx_byte;
        bt_rx_index = 1U;
      }
    }
    else
    {
      bt_rx_packet[bt_rx_index] = uart_rx_byte;
      bt_rx_index++;

      if (bt_rx_index >= BT_PACKET_SIZE)
      {
        if (Bluetooth_ValidatePacket(bt_rx_packet) != 0U)
        {
          Bluetooth_DecodePacket(bt_rx_packet);
          bt_rx_index = 0U;
        }
        else
        {
          bt_error_packet_count++;
          bt_rx_index = 0U;

          /* If the last byte is a new head, retain it for quick resync. */
          if (uart_rx_byte == BT_PACKET_HEAD)
          {
            bt_rx_packet[0] = uart_rx_byte;
            bt_rx_index = 1U;
          }
        }
      }
    }

    if (HAL_UART_Receive_IT(&huart2, &uart_rx_byte, 1U) != HAL_OK)
    {
      bt_link_valid = 0U;
      Communication_Failsafe();
    }
  }
}

void HAL_UART_ErrorCallback(UART_HandleTypeDef *huart)
{
  if (huart->Instance == USART2)
  {
    bt_rx_index = 0U;
    bt_link_valid = 0U;
    Communication_Failsafe();
    __HAL_UART_CLEAR_OREFLAG(huart);
    (void)HAL_UART_Receive_IT(&huart2, &uart_rx_byte, 1U);
  }
}
/* USER CODE END 0 */

int main(void)
{
  /* USER CODE BEGIN 1 */
  uint32_t now;
  uint32_t last_can_control_tick;
  uint32_t last_servo_control_tick;
  uint32_t last_processed_bt_sequence;
  uint8_t bt_failsafe_active;
  uint8_t chassis_was_neutral;
  /* USER CODE END 1 */

  HAL_Init();
  SystemClock_Config();

  MX_GPIO_Init();
  MX_CAN1_Init();
  MX_TIM3_Init();
  MX_USART2_UART_Init();

  /* USER CODE BEGIN 2 */
  Pump_Off();
  Valve_Off();
  PID_InitAll();

  servo_pulse_us = SERVO_CENTER_US;
  __HAL_TIM_SET_COMPARE(&htim3, TIM_CHANNEL_1, servo_pulse_us);
  if (HAL_TIM_PWM_Start(&htim3, TIM_CHANNEL_1) != HAL_OK)
  {
    Error_Handler();
  }

  CAN1_Start();
  if (HAL_UART_Receive_IT(&huart2, &uart_rx_byte, 1U) != HAL_OK)
  {
    Error_Handler();
  }

  last_can_control_tick = HAL_GetTick();
  last_servo_control_tick = HAL_GetTick();
  last_processed_bt_sequence = 0U;
  bt_failsafe_active = 1U;
  chassis_was_neutral = 1U;
  /* USER CODE END 2 */

  while (1)
  {
    int8_t vx_command;
    int8_t vy_command;
    int8_t vw_command;
    uint16_t key_snapshot;
    uint32_t packet_tick_snapshot;
    uint32_t packet_sequence_snapshot;
    uint8_t link_valid_snapshot;
    float vx;
    float vy;
    float vw;
    float speed_limit;
    float target1;
    float target2;
    float target3;
    int16_t current1;
    int16_t current2;
    int16_t current3;
    int16_t claw_current;
    int16_t lift_current;
    int16_t suction_lift_current;

    now = HAL_GetTick();

    __disable_irq();
    key_snapshot = bt_key_bits;
    packet_tick_snapshot = last_bt_packet_tick;
    packet_sequence_snapshot = bt_packet_sequence;
    link_valid_snapshot = bt_link_valid;
    __enable_irq();

    if ((link_valid_snapshot == 0U) ||
        ((now - packet_tick_snapshot) > BT_LOSS_TIMEOUT_MS))
    {
      if (bt_failsafe_active == 0U)
      {
        Communication_Failsafe();
        last_applied_keys = 0U;
        bt_failsafe_active = 1U;
      }
    }
    else
    {
      bt_failsafe_active = 0U;
      if (packet_sequence_snapshot != last_processed_bt_sequence)
      {
        Bluetooth_ApplyPacket(key_snapshot, now);
        last_processed_bt_sequence = packet_sequence_snapshot;
      }
    }

    if ((now - last_can_control_tick) >= CAN_CONTROL_PERIOD_MS)
    {
      last_can_control_tick = now;

      __disable_irq();
      vx_command = bt_vx;
      vy_command = bt_vy;
      vw_command = bt_vw;
      __enable_irq();

      speed_limit = CHASSIS_MAX_RPM;
      vx = CHASSIS_VX_SIGN *
           ((float)vx_command / BT_AXIS_FULL_SCALE) * speed_limit;
      vy = CHASSIS_VY_SIGN *
           ((float)vy_command / BT_AXIS_FULL_SCALE) * speed_limit;
      vw = CHASSIS_VW_SIGN *
           ((float)vw_command / BT_AXIS_FULL_SCALE) * speed_limit;
      Omni_Mix(vx, vy, vw, speed_limit, &target1, &target2, &target3);

      if ((vx_command == 0) && (vy_command == 0) && (vw_command == 0))
      {
        /* Clear the old driving integral once, then actively brake all wheels. */
        if (chassis_was_neutral == 0U)
        {
          PID_Reset(&chassis_pid[0]);
          PID_Reset(&chassis_pid[1]);
          PID_Reset(&chassis_pid[2]);
        }
        chassis_was_neutral = 1U;

        current1 = Chassis_BrakeCurrent(&chassis_pid[0], 0U, now);
        current2 = Chassis_BrakeCurrent(&chassis_pid[1], 1U, now);
        current3 = Chassis_BrakeCurrent(&chassis_pid[2], 2U, now);
      }
      else
      {
        chassis_was_neutral = 0U;
        if ((motor_feedback[0].last_rx_tick == 0U) ||
            ((now - motor_feedback[0].last_rx_tick) >
             MOTOR_FEEDBACK_TIMEOUT_MS))
        {
          PID_Reset(&chassis_pid[0]);
          current1 = 0;
        }
        else
        {
          current1 = (int16_t)PID_Calculate(&chassis_pid[0], target1,
                                            (float)motor_feedback[0].speed);
        }

        if ((motor_feedback[1].last_rx_tick == 0U) ||
            ((now - motor_feedback[1].last_rx_tick) >
             MOTOR_FEEDBACK_TIMEOUT_MS))
        {
          PID_Reset(&chassis_pid[1]);
          current2 = 0;
        }
        else
        {
          current2 = (int16_t)PID_Calculate(&chassis_pid[1], target2,
                                            (float)motor_feedback[1].speed);
        }

        if ((motor_feedback[2].last_rx_tick == 0U) ||
            ((now - motor_feedback[2].last_rx_tick) >
             MOTOR_FEEDBACK_TIMEOUT_MS))
        {
          PID_Reset(&chassis_pid[2]);
          current3 = 0;
        }
        else
        {
          current3 = (int16_t)PID_Calculate(&chassis_pid[2], target3,
                                            (float)motor_feedback[2].speed);
        }
      }

      Mechanism_Task(now,
                     &claw_current,
                     &lift_current,
                     &suction_lift_current);

      /* ID1/2/3 = chassis C620, ID4 = claw C610. */
      DJI_SendCurrent_0x200(current1, current2, current3, claw_current);
      /* ID5 = claw lift C610; ID6 = suction lift C610. */
      DJI_SendCurrent_0x1FF(lift_current, suction_lift_current, 0, 0);
    }

    if ((now - last_servo_control_tick) >= SERVO_CONTROL_PERIOD_MS)
    {
      last_servo_control_tick = now;
      Servo_Task();
    }

    Automatic_Task(now);
  }
}

void SystemClock_Config(void)
{
  RCC_OscInitTypeDef RCC_OscInitStruct = {0};
  RCC_ClkInitTypeDef RCC_ClkInitStruct = {0};

  __HAL_RCC_PWR_CLK_ENABLE();
  __HAL_PWR_VOLTAGESCALING_CONFIG(PWR_REGULATOR_VOLTAGE_SCALE1);

  /* 8 MHz HSE / 8 * 336 / 2 = 168 MHz; PLLQ = 7 gives 48 MHz. */
  RCC_OscInitStruct.OscillatorType = RCC_OSCILLATORTYPE_HSE;
  RCC_OscInitStruct.HSEState = RCC_HSE_ON;
  RCC_OscInitStruct.PLL.PLLState = RCC_PLL_ON;
  RCC_OscInitStruct.PLL.PLLSource = RCC_PLLSOURCE_HSE;
  RCC_OscInitStruct.PLL.PLLM = 8U;
  RCC_OscInitStruct.PLL.PLLN = 336U;
  RCC_OscInitStruct.PLL.PLLP = RCC_PLLP_DIV2;
  RCC_OscInitStruct.PLL.PLLQ = 7U;
  if (HAL_RCC_OscConfig(&RCC_OscInitStruct) != HAL_OK)
  {
    Error_Handler();
  }

  RCC_ClkInitStruct.ClockType = RCC_CLOCKTYPE_HCLK |
                                RCC_CLOCKTYPE_SYSCLK |
                                RCC_CLOCKTYPE_PCLK1 |
                                RCC_CLOCKTYPE_PCLK2;
  RCC_ClkInitStruct.SYSCLKSource = RCC_SYSCLKSOURCE_PLLCLK;
  RCC_ClkInitStruct.AHBCLKDivider = RCC_SYSCLK_DIV1;
  RCC_ClkInitStruct.APB1CLKDivider = RCC_HCLK_DIV4;
  RCC_ClkInitStruct.APB2CLKDivider = RCC_HCLK_DIV2;

  if (HAL_RCC_ClockConfig(&RCC_ClkInitStruct, FLASH_LATENCY_5) != HAL_OK)
  {
    Error_Handler();
  }
}

void Error_Handler(void)
{
  Emergency_Stop();
  __disable_irq();
  while (1)
  {
  }
}
